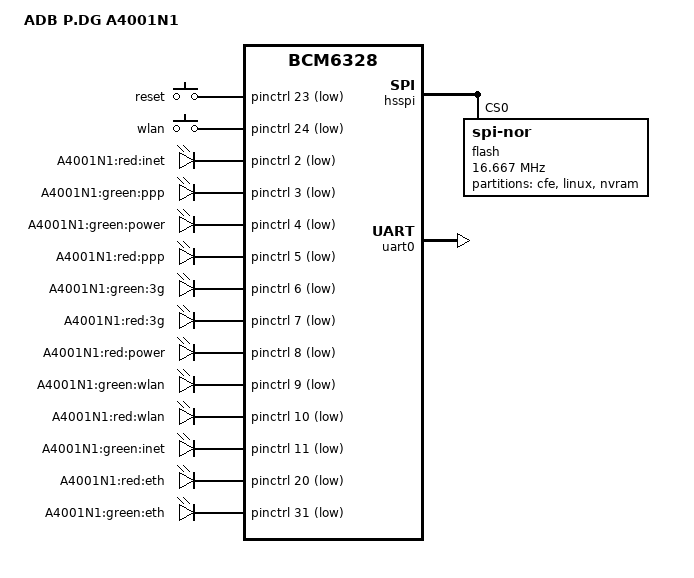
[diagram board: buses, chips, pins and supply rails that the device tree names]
/dts-v1/;

#include "bcm6328.dtsi"

#include <dt-bindings/input/input.h>

/ {
	model = "ADB P.DG A4001N1";
	compatible = "adb,a4001n1", "brcm,bcm6328";

	chosen {
		bootargs = "rootfstype=squashfs,jffs2 noinitrd console=ttyS0,115200";
		stdout-path = "serial0:115200n8";
	};

	gpio-keys-polled {
		compatible = "gpio-keys-polled";
		#address-cells = <1>;
		#size-cells = <0>;
		poll-interval = <20>;

		reset {
			label = "reset";
			gpios = <&pinctrl 23 1>;
			linux,code = <KEY_RESTART>;
			debounce-interval = <60>;
		};

		wps {
			label = "wlan";
			gpios = <&pinctrl 24 1>;
			linux,code = <KEY_WLAN>;
			debounce-interval = <60>;
		};
	};

	gpio-leds {
		compatible = "gpio-leds";

		inet_red {
			label = "A4001N1:red:inet";
			gpios = <&pinctrl 2 1>;
		};
		ppp_green {
			label = "A4001N1:green:ppp";
			gpios = <&pinctrl 3 1>;
		};
		power_green {
			label = "A4001N1:green:power";
			gpios = <&pinctrl 4 1>;
			default-state = "on";
		};
		ppp_red {
			label = "A4001N1:red:ppp";
			gpios = <&pinctrl 5 1>;
		};
		usb_green {
			label = "A4001N1:green:3g";
			gpios = <&pinctrl 6 1>;
		};
		usb_red {
			label = "A4001N1:red:3g";
			gpios = <&pinctrl 7 1>;
		};
		power_red {
			label = "A4001N1:red:power";
			gpios = <&pinctrl 8 1>;
		};
		wlan_green {
			label = "A4001N1:green:wlan";
			gpios = <&pinctrl 9 1>;
		};
		wlan_red {
			label = "A4001N1:red:wlan";
			gpios = <&pinctrl 10 1>;
		};
		inet_green {
			label = "A4001N1:green:inet";
			gpios = <&pinctrl 11 1>;
		};
		eth_red {
			label = "A4001N1:red:eth";
			gpios = <&pinctrl 20 1>;
		};
		eth_green {
			label = "A4001N1:green:eth";
			gpios = <&pinctrl 31 1>;
		};
	};
};

&hsspi {
	status = "ok";

	flash@0 {
		compatible = "jedec,spi-nor";
		spi-max-frequency = <16666667>;
		spi-tx-bus-width = <2>;
		spi-rx-bus-width = <2>;
		reg = <0>;

		#address-cells = <1>;
		#size-cells = <1>;

		partitions {
			compatible = "fixed-partitions";
			#address-cells = <1>;
			#size-cells = <1>;

			cfe@0 {
				reg = <0x000000 0x010000>;
				label = "cfe";
				read-only;
			};

			linux@10000 {
				reg = <0x010000 0xfe0000>;
				label = "linux";
				compatible = "brcm,bcm963xx-imagetag";
			};

			nvram@ff0000 {
				reg = <0xff0000 0x010000>;
				label = "nvram";
			};
		};
	};
};

&uart0 {
	status = "ok";
};
